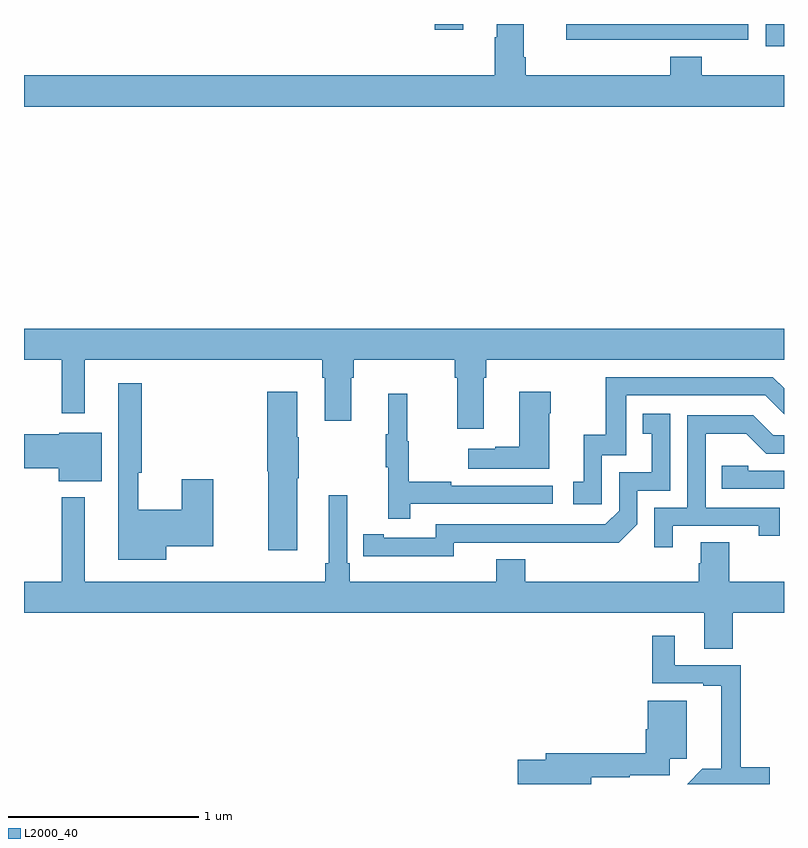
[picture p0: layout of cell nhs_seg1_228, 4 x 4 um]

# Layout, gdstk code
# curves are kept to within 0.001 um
import gdstk
lib = gdstk.Library(unit=1e-6, precision=1e-09)
def R(c, l, rs):  # rectangles x0, y0, x1, y1
    for r in rs: c.add(gdstk.rectangle(r[:2], r[2:], *l))
def P(c, l, *ps):  # polygons
    for p in ps: c.add(gdstk.Polygon(p, *l))
L2000_40 = (2000, 40)

nhs_seg1_228 = lib.new_cell('nhs_seg1_228')
R(nhs_seg1_228, L2000_40, [(126.903,520.083,127,520.199), (125.163,520.17,125.311,520.199)])
P(nhs_seg1_228, L2000_40, [(126.317,520.116),(126.813,520.116),(126.813,520.199),(125.854,520.199),(125.854,520.115),(126.317,520.115)],
  [(127,519.928),(126.566,519.928),(126.566,520.027),(126.401,520.027),(126.401,519.928),(125.642,519.928),(125.642,520.024),(125.629,520.024),(125.629,520.199),(125.489,520.199),(125.489,520.13),(125.477,520.13),(125.477,519.928),(123,519.928),(123,519.764),(127,519.764)],
  [(125.419,518.336),(125.432,518.336),(125.432,518.432),(127,518.432),(127,518.596),(123,518.596),(123,518.432),(123.198,518.432),(123.198,518.151),(123.319,518.151),(123.319,518.432),(124.571,518.432),(124.571,518.336),(124.583,518.336),(124.583,518.112),(124.723,518.112),(124.723,518.336),(124.736,518.336),(124.736,518.432),(125.267,518.432),(125.267,518.336),(125.279,518.336),(125.279,518.07),(125.419,518.07)],
  [(126.042,517.929),(126.171,517.929),(126.171,518.244),(126.9,518.244),(127,518.144),(127,518.282),(126.942,518.34),(126.063,518.34),(126.063,518.038),(125.945,518.038),(125.945,517.791),(125.892,517.791),(125.892,517.671),(126.042,517.671)],
  [(123.748,517.451),(123.996,517.451),(123.996,517.804),(123.83,517.804),(123.83,517.642),(123.601,517.642),(123.601,517.838),(123.619,517.838),(123.619,518.308),(123.497,518.308),(123.497,517.379),(123.748,517.379)],
  [(125.764,518.15),(125.772,518.15),(125.772,518.263),(125.606,518.263),(125.606,517.973),(125.48,517.973),(125.48,517.963),(125.337,517.963),(125.337,517.859),(125.764,517.859)],
  [(124.438,517.807),(124.446,517.807),(124.446,518.024),(124.438,518.024),(124.438,518.263),(124.28,518.263),(124.28,517.845),(124.285,517.845),(124.285,517.428),(124.438,517.428)],
  [(125.033,517.674),(125.782,517.674),(125.782,517.77),(125.249,517.77),(125.249,517.79),(125.026,517.79),(125.026,518.004),(125.018,518.004),(125.018,518.254),(124.916,518.254),(124.916,518.041),(124.905,518.041),(124.905,517.867),(124.916,517.867),(124.916,517.596),(125.033,517.596)],
  [(125.262,517.47),(126.13,517.469),(126.228,517.566),(126.228,517.743),(126.402,517.743),(126.402,518.149),(126.256,518.149),(126.256,518.043),(126.305,518.043),(126.305,517.839),(126.132,517.839),(126.132,517.638),(126.06,517.566),(125.166,517.566),(125.166,517.494),(124.894,517.494),(124.894,517.514),(124.786,517.514),(124.786,517.398),(125.262,517.397)],
  [(126.415,517.557),(126.866,517.557),(126.866,517.506),(126.977,517.506),(126.977,517.653),(126.588,517.653),(126.588,518.042),(126.802,518.042),(126.906,517.938),(127,517.938),(127,518.034),(126.943,518.034),(126.838,518.139),(126.492,518.139),(126.492,517.653),(126.318,517.653),(126.318,517.446),(126.415,517.446)],
  [(123.409,518.047),(123.186,518.047),(123.186,518.04),(123,518.04),(123,517.862),(123.182,517.862),(123.182,517.793),(123.409,517.793)],
  [(127,517.848),(126.813,517.848),(126.813,517.875),(126.673,517.875),(126.673,517.752),(127,517.752)],
  [(126.729,517.1),(127,517.1),(127,517.264),(126.711,517.264),(126.711,517.472),(126.563,517.472),(126.563,517.362),(126.551,517.362),(126.551,517.264),(125.639,517.264),(125.639,517.381),(125.486,517.381),(125.486,517.264),(124.715,517.264),(124.715,517.36),(124.701,517.36),(124.701,517.72),(124.604,517.72),(124.604,517.36),(124.585,517.36),(124.585,517.264),(123.319,517.264),(123.319,517.708),(123.198,517.708),(123.198,517.264),(123,517.264),(123,517.1),(126.581,517.1),(126.581,516.91),(126.729,516.91)],
  [(126.924,516.287),(126.773,516.287),(126.773,516.825),(126.424,516.825),(126.424,516.979),(126.307,516.979),(126.307,516.729),(126.575,516.729),(126.575,516.717),(126.671,516.717),(126.671,516.28),(126.571,516.28),(126.49,516.199),(126.924,516.199)],
  [(125.986,516.234),(126.188,516.234),(126.188,516.246),(126.399,516.246),(126.399,516.332),(126.487,516.332),(126.487,516.637),(126.284,516.637),(126.284,516.486),(126.272,516.486),(126.272,516.362),(125.747,516.362),(125.747,516.326),(125.598,516.326),(125.598,516.199),(125.986,516.199)])

lib.write_gds('nhs_seg1_228.gds')
